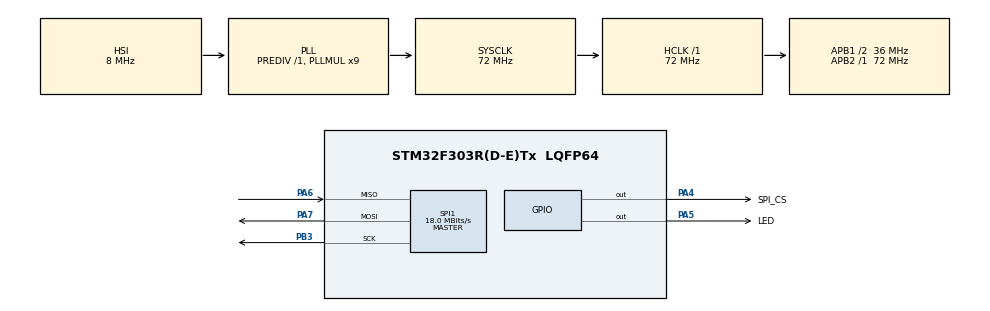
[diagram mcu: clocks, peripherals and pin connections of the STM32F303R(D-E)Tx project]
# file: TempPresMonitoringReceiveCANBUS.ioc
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Mcu.Family=STM32F3
Mcu.Name=STM32F303R(D-E)Tx
Mcu.Package=LQFP64
NVIC.PriorityGroup=NVIC_PRIORITYGROUP_4
PA13.Mode=Serial_Wire
PA13.Signal=SYS_JTMS-SWDIO
PA14.Mode=Serial_Wire
PA14.Signal=SYS_JTCK-SWCLK
PA4.GPIO_Label=SPI_CS
PA4.Signal=GPIO_Output
PA5.GPIO_Label=LED
PA5.Signal=GPIO_Output
PA6.Mode=Full_Duplex_Master
PA6.Signal=SPI1_MISO
PA7.Mode=Full_Duplex_Master
PA7.Signal=SPI1_MOSI
PB3.Mode=Full_Duplex_Master
PB3.Signal=SPI1_SCK
PF0-OSC_IN.Mode=HSE-External-Oscillator
PF0-OSC_IN.Signal=RCC_OSC_IN
PF1-OSC_OUT.Mode=HSE-External-Oscillator
PF1-OSC_OUT.Signal=RCC_OSC_OUT
ProjectManager.HeapSize=0x200
ProjectManager.StackSize=0x400
ProjectManager.TargetToolchain=STM32CubeIDE
RCC.AHBFreq_Value=72000000
RCC.APB1CLKDivider=RCC_HCLK_DIV2
RCC.APB1Freq_Value=36000000
RCC.APB1TimFreq_Value=72000000
RCC.APB2Freq_Value=72000000
RCC.APB2TimFreq_Value=72000000
RCC.CortexFreq_Value=72000000
RCC.DATA_CACHE_ENABLE=1
RCC.HCLKFreq_Value=72000000
RCC.HSE_VALUE=8000000
RCC.HSI_VALUE=8000000
RCC.INSTRUCTION_CACHE_ENABLE=1
RCC.LSE_VALUE=32768
RCC.PLLMUL=RCC_PLL_MUL9
RCC.PWR_Regulator_Voltage_Scale=PWR_REGULATOR_VOLTAGE_SCALE1
RCC.SYSCLKFreq_VALUE=72000000
RCC.SYSCLKSourceVirtual=RCC_SYSCLKSOURCE_PLLCLK
RCC.USBFreq_Value=72000000
SPI1.BaudRatePrescaler=SPI_BAUDRATEPRESCALER_4
SPI1.CalculateBaudRate=18.0 MBits/s
SPI1.DataSize=SPI_DATASIZE_8BIT
SPI1.Direction=SPI_DIRECTION_2LINES
SPI1.Mode=SPI_MODE_MASTER
SPI1.VirtualType=VM_MASTER
board=custom

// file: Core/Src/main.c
/* USER CODE BEGIN Header */
/**
  ******************************************************************************
  * @file           : main.c
  * @brief          : Main program body
  ******************************************************************************
  * @attention
  *
  * Copyright (c) 2024 STMicroelectronics.
  * All rights reserved.
  *
  * This software is licensed under terms that can be found in the LICENSE file
  * in the root directory of this software component.
  * If no LICENSE file comes with this software, it is provided AS-IS.
  *
  ******************************************************************************
  */
/* USER CODE END Header */
#include "main.h"

/* USER CODE BEGIN Includes */

#include "MCP2515.h"
#include "CAN_SPI.h"

HAL_SPI_StateTypeDef spi_status;
uint8_t controlVal = 0;
uint8_t returnVal = 0;

uCAN_MSG txMessage;
uCAN_MSG rxMessage;

/* USER CODE END Includes */

SPI_HandleTypeDef hspi1;

void SystemClock_Config(void);
static void MX_GPIO_Init(void);
static void MX_SPI1_Init(void);

int main(void)
{

  /* MCU Configuration--------------------------------------------------------*/

  /* Reset of all peripherals, Initializes the Flash interface and the Systick. */
  HAL_Init();

  /* Configure the system clock */
  SystemClock_Config();

  /* Initialize all configured peripherals */
  MX_GPIO_Init();
  MX_SPI1_Init();
  /* USER CODE BEGIN 2 */

  CANSPI_Initialize();

  HAL_GPIO_WritePin(GPIOA,GPIO_PIN_5,GPIO_PIN_RESET);

  spi_status = HAL_SPI_GetState(SPI_CAN);

  if(spi_status != HAL_SPI_STATE_READY)
  {
	  HAL_GPIO_WritePin(GPIOA,GPIO_PIN_5,GPIO_PIN_SET);
	  while(1){};
  }

  if(spi_status == HAL_SPI_STATE_READY)
  {
	  controlVal++;
  }

  /* USER CODE END 2 */

  /* Infinite loop */
  while (1)
  {

    /* USER CODE BEGIN 3 */
	  if(CANSPI_Receive(&rxMessage)){
	  	  if(rxMessage.frame.id == 0x0A){
	  		  if(rxMessage.frame.data0 == 0){
	  			  HAL_GPIO_WritePin(GPIOA, GPIO_PIN_5, GPIO_PIN_SET);
	  		  }else{
	  			  HAL_GPIO_WritePin(GPIOA, GPIO_PIN_5, GPIO_PIN_SET);
	  		  }
	  	  }

	  	  	HAL_Delay(100);
	  		txMessage.frame.idType = dSTANDARD_CAN_MSG_ID_2_0B;
	  		txMessage.frame.id = 0x36;
	  		txMessage.frame.dlc = 8;
	  		txMessage.frame.data0 = 0;
	  		txMessage.frame.data1 = 1;
	  		txMessage.frame.data2 = 2;
	  		txMessage.frame.data3 = 3;
	  		txMessage.frame.data4 = 4;
	  		txMessage.frame.data5 = 5;
	  		txMessage.frame.data6 = 6;
	  		txMessage.frame.data7 = 7;
	  		CANSPI_Transmit(&txMessage);
	  	  }

	    }

  /* USER CODE END 3 */
}

void SystemClock_Config(void)
{
  RCC_OscInitTypeDef RCC_OscInitStruct = {0};
  RCC_ClkInitTypeDef RCC_ClkInitStruct = {0};

  /** Initializes the RCC Oscillators according to the specified parameters
  * in the RCC_OscInitTypeDef structure.
  */
  RCC_OscInitStruct.OscillatorType = RCC_OSCILLATORTYPE_HSI;
  RCC_OscInitStruct.HSIState = RCC_HSI_ON;
  RCC_OscInitStruct.HSICalibrationValue = RCC_HSICALIBRATION_DEFAULT;
  RCC_OscInitStruct.PLL.PLLState = RCC_PLL_ON;
  RCC_OscInitStruct.PLL.PLLSource = RCC_PLLSOURCE_HSI;
  RCC_OscInitStruct.PLL.PLLMUL = RCC_PLL_MUL9;
  RCC_OscInitStruct.PLL.PREDIV = RCC_PREDIV_DIV1;
  if (HAL_RCC_OscConfig(&RCC_OscInitStruct) != HAL_OK)
  {
    Error_Handler();
  }

  /** Initializes the CPU, AHB and APB buses clocks
  */
  RCC_ClkInitStruct.ClockType = RCC_CLOCKTYPE_HCLK|RCC_CLOCKTYPE_SYSCLK
                              |RCC_CLOCKTYPE_PCLK1|RCC_CLOCKTYPE_PCLK2;
  RCC_ClkInitStruct.SYSCLKSource = RCC_SYSCLKSOURCE_PLLCLK;
  RCC_ClkInitStruct.AHBCLKDivider = RCC_SYSCLK_DIV1;
  RCC_ClkInitStruct.APB1CLKDivider = RCC_HCLK_DIV2;
  RCC_ClkInitStruct.APB2CLKDivider = RCC_HCLK_DIV1;

  if (HAL_RCC_ClockConfig(&RCC_ClkInitStruct, FLASH_LATENCY_2) != HAL_OK)
  {
    Error_Handler();
  }
}

static void MX_SPI1_Init(void)
{

  /* SPI1 parameter configuration*/
  hspi1.Instance = SPI1;
  hspi1.Init.Mode = SPI_MODE_MASTER;
  hspi1.Init.Direction = SPI_DIRECTION_2LINES;
  hspi1.Init.DataSize = SPI_DATASIZE_8BIT;
  hspi1.Init.CLKPolarity = SPI_POLARITY_LOW;
  hspi1.Init.CLKPhase = SPI_PHASE_1EDGE;
  hspi1.Init.NSS = SPI_NSS_SOFT;
  hspi1.Init.BaudRatePrescaler = SPI_BAUDRATEPRESCALER_4;
  hspi1.Init.FirstBit = SPI_FIRSTBIT_MSB;
  hspi1.Init.TIMode = SPI_TIMODE_DISABLE;
  hspi1.Init.CRCCalculation = SPI_CRCCALCULATION_DISABLE;
  hspi1.Init.CRCPolynomial = 7;
  hspi1.Init.CRCLength = SPI_CRC_LENGTH_DATASIZE;
  hspi1.Init.NSSPMode = SPI_NSS_PULSE_ENABLE;
  if (HAL_SPI_Init(&hspi1) != HAL_OK)
  {
    Error_Handler();
  }

}

static void MX_GPIO_Init(void)
{
  GPIO_InitTypeDef GPIO_InitStruct = {0};

  /* GPIO Ports Clock Enable */
  __HAL_RCC_GPIOF_CLK_ENABLE();
  __HAL_RCC_GPIOA_CLK_ENABLE();
  __HAL_RCC_GPIOB_CLK_ENABLE();

  /*Configure GPIO pin Output Level */
  HAL_GPIO_WritePin(GPIOA, SPI_CS_Pin|LED_Pin, GPIO_PIN_RESET);

  /*Configure GPIO pins : SPI_CS_Pin LED_Pin */
  GPIO_InitStruct.Pin = SPI_CS_Pin|LED_Pin;
  GPIO_InitStruct.Mode = GPIO_MODE_OUTPUT_PP;
  GPIO_InitStruct.Pull = GPIO_NOPULL;
  GPIO_InitStruct.Speed = GPIO_SPEED_FREQ_LOW;
  HAL_GPIO_Init(GPIOA, &GPIO_InitStruct);

}

void Error_Handler(void)
{
  __disable_irq();
  while (1)
  {
  }
}
